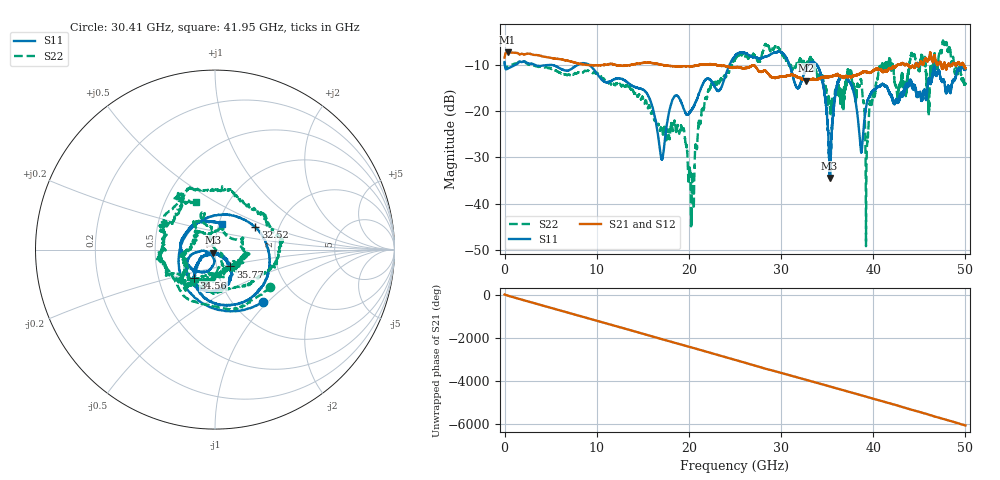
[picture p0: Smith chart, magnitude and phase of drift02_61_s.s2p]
!Created with skrf (http://scikit-rf.org).
# Hz S RI R 50.0
!freq ReS11 ImS11 ReS21 ImS21 ReS12 ImS12 ReS22 ImS22
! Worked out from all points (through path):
!   10001 points, 300 kHz to 50 GHz, reference 50 ohm
!   highest |S21| = -7.31 dB at 325.3 MHz (marker M1); lowest = -13.4 dB at 32.73 GHz (marker M2)
!   group delay of S21, straight-line fit = 335 ps
!   lowest |S11| = -34.5 dB at 35.26 GHz (marker M3), VSWR 1.04, Z = 49 - j1.6 ohm
!   |S11| at or under -10 dB: 3.228 GHz to 8.004 GHz (4.776 GHz wide, 85 % of centre); 9.107 GHz to 24.42 GHz (15.31 GHz wide, 91.3 % of centre); 33.85 GHz to end of sweep (the widest 3 of 7)
!   |S22| runs from -49.2 to -4.8 dB; largest |S21 - S12| = 0.013
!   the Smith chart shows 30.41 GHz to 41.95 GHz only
!   S11 on the Smith chart (normalised r, x): 30.41 GHz: 1.37, -0.94; 32.52 GHz: 1.51, +0.41; 34.56 GHz: 0.75, -0.25; 35.77 GHz: 1.16, -0.22; 41.95 GHz: 1.04, +0.31
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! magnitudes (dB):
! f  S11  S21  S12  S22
! 300 kHz  -9.5  -8.5  -8.4  -9.4
! 325.3 MHz  -10.9  -7.3  -7.3  -10.5
! 8.335 GHz  -9.7  -9.9  -9.9  -11.6
! 16.67 GHz  -25.5  -9.9  -9.9  -22.8
! 19.31 GHz  -18.9  -10.4  -10.3  -24.4
! 20.37 GHz  -19.6  -10.3  -10.3  -34.7
! 21.94 GHz  -13.1  -10.0  -9.9  -17.1
! 25 GHz  -8.1  -10.6  -10.6  -9.1
! 30.41 GHz  -8.1  -12.5  -12.5  -8.6
! 32.52 GHz  -11.8  -13.2  -13.3  -9.9
! 32.73 GHz  -10.9  -13.4  -13.6  -9.9
! 33.34 GHz  -9.6  -13.1  -13.2  -9.0
! 34.56 GHz  -14.1  -12.7  -12.7  -12.9
! 35.26 GHz  -34.5  -12.6  -12.6  -18.3
! 35.77 GHz  -17.9  -12.4  -12.4  -17.8
! 37.24 GHz  -13.3  -12.7  -12.5  -11.7
! 38.55 GHz  -26.2  -12.0  -12.0  -13.9
! 39.32 GHz  -18.2  -11.6  -11.6  -27.7
! 41.67 GHz  -15.7  -10.9  -11.1  -9.5
! 41.95 GHz  -16.5  -10.9  -10.8  -10.9
! 47.77 GHz  -14.4  -9.8  -9.7  -5.6
! 50 GHz  -11.1  -10.8  -10.8  -14.2
